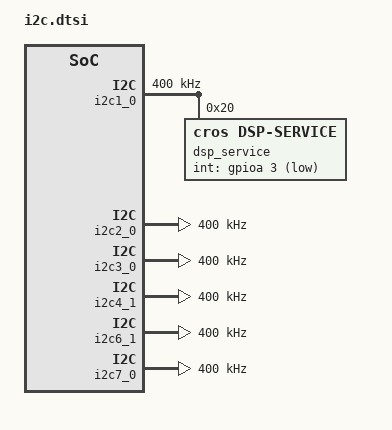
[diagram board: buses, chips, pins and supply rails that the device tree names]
/* Copyright 2024 The ChromiumOS Authors
 * Use of this source code is governed by a BSD-style license that can be
 * found in the LICENSE file.
 */

/* Set bus speeds for I2C */

&i2c1_0 {
	label = "I2C_DSP";
	clock-frequency = <I2C_BITRATE_FAST>;
	dsp_service: dsp-service@20 {
		compatible = "cros,dsp-service";
		reg = <0x20>;
		int-gpios = <&gpioa 3 (GPIO_PUSH_PULL | GPIO_ACTIVE_LOW | GPIO_PULL_UP)>;
	};
};

&i2c2_0 {
	label = "I2C_PDC";
	clock-frequency = <I2C_BITRATE_FAST>;
};

&i2c3_0 {
	label = "I2C_IMVP91";
	clock-frequency = <I2C_BITRATE_FAST>;
};

&i2c4_1 {
	label = "I2C_PMC_PD";
	clock-frequency = <I2C_BITRATE_FAST>;
};

&i2c6_1 {
	label = "I2C_PORT_CHARGER";
	clock-frequency = <I2C_BITRATE_FAST>;
};

&i2c7_0 {
	label = "I2C_BATTERY";
	clock-frequency = <I2C_BITRATE_FAST>;
};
